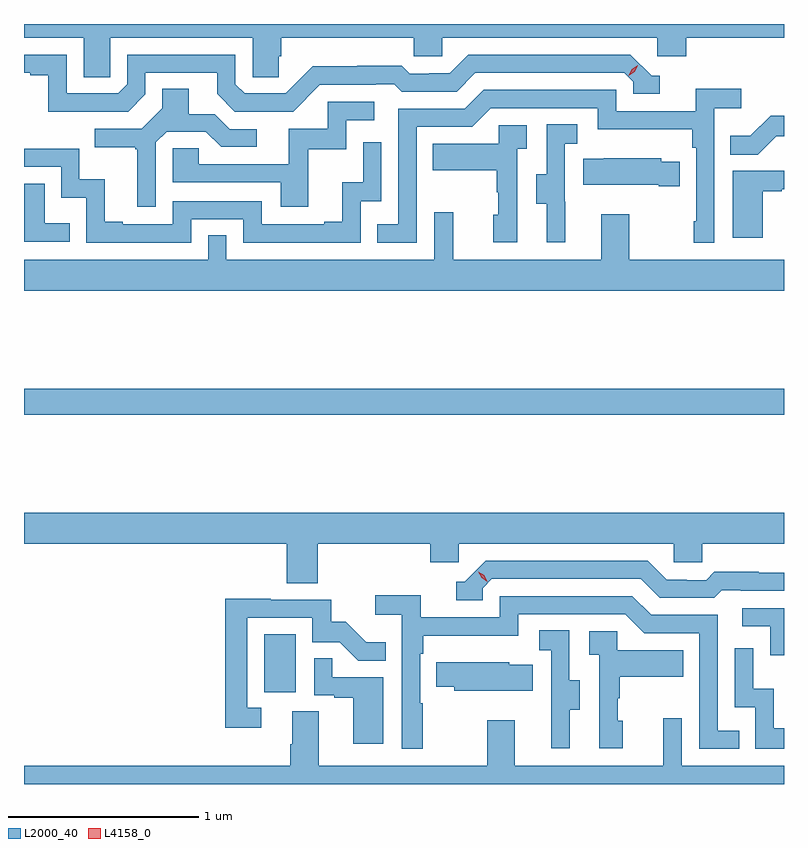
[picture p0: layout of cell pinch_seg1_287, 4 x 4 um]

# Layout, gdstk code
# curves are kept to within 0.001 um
import gdstk
lib = gdstk.Library(unit=1e-6, precision=1e-09)
def R(c, l, rs):  # rectangles x0, y0, x1, y1
    for r in rs: c.add(gdstk.rectangle(r[:2], r[2:], *l))
def P(c, l, *ps):  # polygons
    for p in ps: c.add(gdstk.Polygon(p, *l))
L2000_40 = (2000, 40)
L4158_0 = (4158, 0)

pinch_seg1_287 = lib.new_cell('pinch_seg1_287')
R(pinch_seg1_287, L2000_40, [(928.334,548.286,928.498,548.593), (927.069,549.748,931.069,549.884)])
P(pinch_seg1_287, L2000_40, [(930.402,551.634),(930.554,551.634),(930.554,551.732),(931.069,551.732),(931.069,551.804),(927.069,551.804),(927.069,551.732),(927.383,551.732),(927.383,551.524),(927.522,551.524),(927.522,551.732),(928.272,551.732),(928.272,551.524),(928.409,551.524),(928.409,551.634),(928.424,551.634),(928.424,551.732),(929.121,551.732),(929.121,551.634),(929.271,551.634),(929.271,551.732),(930.402,551.732)],
  [(927.402,551.343),(927.618,551.343),(927.708,551.433),(927.708,551.547),(928.085,551.547),(928.085,551.437),(928.179,551.343),(928.485,551.343),(928.626,551.484),(928.919,551.484),(928.919,551.487),(929.018,551.487),(929.057,551.448),(929.346,551.448),(929.445,551.547),(930.228,551.547),(930.276,551.499),(930.276,551.436),(930.415,551.436),(930.415,551.532),(930.372,551.532),(930.261,551.643),(929.408,551.643),(929.309,551.544),(929.202,551.544),(929.202,551.541),(929.099,551.541),(929.057,551.584),(928.824,551.584),(928.824,551.581),(928.588,551.581),(928.446,551.439),(928.23,551.439),(928.182,551.487),(928.182,551.643),(927.612,551.643),(927.612,551.487),(927.564,551.439),(927.294,551.439),(927.294,551.643),(927.069,551.643),(927.069,551.547),(927.101,551.547),(927.101,551.535),(927.197,551.535),(927.197,551.342)],
  [(927.762,551.181),(927.819,551.238),(928.025,551.238),(928.106,551.157),(928.294,551.157),(928.294,551.25),(928.152,551.25),(928.072,551.33),(927.937,551.33),(927.937,551.462),(927.797,551.462),(927.797,551.36),(927.69,551.253),(927.441,551.253),(927.441,551.156),(927.654,551.156),(927.654,551.145),(927.665,551.145),(927.665,550.842),(927.762,550.842)],
  [(929.136,551.262),(929.427,551.262),(929.526,551.361),(930.09,551.361),(930.09,551.249),(930.586,551.249),(930.586,551.153),(930.606,551.153),(930.606,550.765),(930.594,550.765),(930.594,550.653),(930.702,550.653),(930.702,551.36),(930.844,551.36),(930.844,551.462),(930.605,551.462),(930.605,551.346),(930.186,551.346),(930.186,551.457),(929.489,551.457),(929.39,551.358),(929.04,551.358),(929.04,550.749),(928.927,550.749),(928.927,550.653),(929.136,550.653)],
  [(928.565,551.145),(928.764,551.145),(928.764,551.298),(928.912,551.298),(928.912,551.394),(928.668,551.394),(928.668,551.253),(928.463,551.253),(928.463,551.067),(927.989,551.067),(927.989,551.151),(927.852,551.151),(927.852,550.971),(928.421,550.971),(928.421,550.842),(928.565,550.842)],
  [(931.029,551.214),(931.069,551.214),(931.069,551.322),(930.998,551.322),(930.891,551.215),(930.787,551.215),(930.787,551.116),(930.931,551.116)],
  [(929.918,550.869),(929.916,550.869),(929.916,551.173),(929.98,551.173),(929.98,551.276),(929.82,551.276),(929.82,551.013),(929.765,551.013),(929.765,550.858),(929.819,550.858),(929.819,550.656),(929.918,550.656)],
  [(929.664,551.147),(929.716,551.147),(929.716,551.271),(929.568,551.271),(929.568,551.173),(929.221,551.173),(929.221,551.033),(929.556,551.033),(929.556,550.919),(929.566,550.919),(929.566,550.8),(929.54,550.8),(929.54,550.656),(929.664,550.656)],
  [(927.948,550.776),(928.224,550.776),(928.224,550.653),(928.842,550.653),(928.842,550.872),(928.95,550.872),(928.95,551.182),(928.854,551.182),(928.854,550.97),(928.745,550.97),(928.745,550.762),(928.649,550.762),(928.649,550.749),(928.32,550.749),(928.32,550.872),(927.852,550.872),(927.852,550.749),(927.589,550.749),(927.589,550.762),(927.493,550.762),(927.493,550.987),(927.36,550.987),(927.36,551.148),(927.069,551.148),(927.069,551.052),(927.264,551.052),(927.264,550.889),(927.396,550.889),(927.396,550.653),(927.948,550.653)],
  [(930.521,551.08),(930.423,551.08),(930.423,551.098),(930.121,551.098),(930.121,551.095),(930.013,551.095),(930.013,550.958),(930.41,550.958),(930.41,550.951),(930.521,550.951)],
  [(930.958,550.923),(931.058,550.923),(931.058,550.935),(931.069,550.935),(931.069,551.031),(930.8,551.031),(930.8,550.68),(930.958,550.68)],
  [(927.311,550.756),(927.177,550.756),(927.177,550.962),(927.069,550.962),(927.069,550.659),(927.311,550.659)],
  [(931.069,550.564),(930.255,550.564),(930.255,550.804),(930.107,550.804),(930.107,550.564),(929.327,550.564),(929.327,550.813),(929.229,550.813),(929.229,550.564),(928.134,550.564),(928.134,550.691),(928.038,550.691),(928.038,550.564),(927.069,550.564),(927.069,550.4),(931.069,550.4)],
  [(928.616,549.068),(929.207,549.068),(929.207,548.97),(929.358,548.97),(929.358,549.068),(930.489,549.068),(930.489,548.97),(930.639,548.97),(930.639,549.068),(931.069,549.068),(931.069,549.232),(927.069,549.232),(927.069,549.068),(928.451,549.068),(928.451,548.86),(928.616,548.86)],
  [(929.484,548.835),(929.532,548.883),(930.315,548.883),(930.414,548.784),(930.703,548.784),(930.742,548.823),(930.841,548.823),(930.841,548.82),(931.069,548.82),(931.069,548.917),(930.936,548.917),(930.936,548.92),(930.703,548.92),(930.661,548.877),(930.558,548.877),(930.558,548.88),(930.451,548.88),(930.352,548.979),(929.499,548.979),(929.388,548.868),(929.345,548.868),(929.345,548.772),(929.484,548.772)],
  [(929.167,548.228),(929.154,548.228),(929.154,548.489),(929.171,548.489),(929.171,548.585),(929.67,548.585),(929.67,548.697),(930.234,548.697),(930.333,548.598),(930.624,548.598),(930.624,547.989),(930.833,547.989),(930.833,548.085),(930.72,548.085),(930.72,548.694),(930.37,548.694),(930.271,548.793),(929.574,548.793),(929.574,548.682),(929.156,548.682),(929.156,548.798),(928.917,548.798),(928.917,548.696),(929.058,548.696),(929.058,547.989),(929.167,547.989)],
  [(928.318,548.205),(928.245,548.205),(928.245,548.679),(928.587,548.679),(928.587,548.55),(928.731,548.55),(928.829,548.452),(928.973,548.452),(928.973,548.551),(928.869,548.551),(928.762,548.658),(928.686,548.658),(928.686,548.775),(928.367,548.775),(928.367,548.78),(928.129,548.78),(928.129,548.1),(928.318,548.1)],
  [(931.069,548.73),(930.849,548.73),(930.849,548.634),(930.996,548.634),(930.996,548.481),(931.069,548.481)],
  [(929.941,548.194),(929.995,548.194),(929.995,548.349),(929.94,548.349),(929.94,548.612),(929.781,548.612),(929.781,548.509),(929.844,548.509),(929.844,548.205),(929.843,548.205),(929.843,547.992),(929.941,547.992)],
  [(930.22,548.136),(930.195,548.136),(930.195,548.255),(930.205,548.255),(930.205,548.369),(930.539,548.369),(930.539,548.509),(930.192,548.509),(930.192,548.607),(930.045,548.607),(930.045,548.483),(930.096,548.483),(930.096,547.992),(930.22,547.992)],
  [(931.069,548.098),(931.016,548.098),(931.016,548.306),(930.906,548.306),(930.906,548.518),(930.81,548.518),(930.81,548.208),(930.918,548.208),(930.918,547.989),(931.069,547.989)],
  [(928.96,548.367),(928.691,548.367),(928.691,548.465),(928.596,548.465),(928.596,548.271),(928.703,548.271),(928.703,548.259),(928.802,548.259),(928.802,548.016),(928.96,548.016)],
  [(929.747,548.431),(929.622,548.431),(929.622,548.446),(929.35,548.446),(929.35,548.445),(929.239,548.445),(929.239,548.317),(929.333,548.317),(929.333,548.294),(929.747,548.294)],
  [(931.069,547.9),(930.531,547.9),(930.531,548.149),(930.434,548.149),(930.434,547.9),(929.653,547.9),(929.653,548.14),(929.506,548.14),(929.506,547.9),(928.621,547.9),(928.621,548.186),(928.481,548.186),(928.481,548.012),(928.469,548.012),(928.469,547.9),(927.069,547.9),(927.069,547.804),(931.069,547.804)])
P(pinch_seg1_287, L4158_0, [(929.508,548.869),(929.477,548.889),(929.461,548.921),(929.461,548.921),(929.461,548.921),(929.492,548.902),(929.508,548.87),(929.508,548.869)],
  [(930.252,551.532),(930.252,551.533),(930.267,551.566),(930.298,551.586),(930.298,551.586),(930.298,551.586),(930.283,551.553),(930.252,551.532)])

lib.write_gds('pinch_seg1_287.gds')
